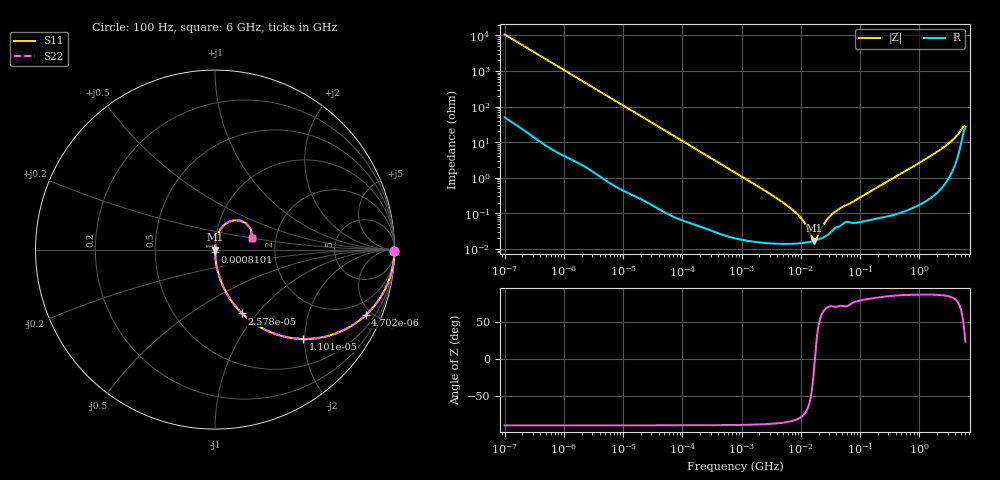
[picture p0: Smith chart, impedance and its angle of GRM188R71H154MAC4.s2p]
!Murata Part Number: GRM188R71H154MAC4
!These Parameters are Measured in Series Mode Connection
!Data Generated on Mar 30, 2021
!  o--ll--o
!Port1  Port2
!  o------o
!Operation Temp=25[degC], DC Bias Voltage=0[V]
!Freq. Start=100[Hz] Stop=6[GHz] 401[Steps]
# Hz S RI R 50
!Freq.(Hz) S11(Real) S11(Imag) S21(Real) S21(Imag) S12(Real) S12(Imag) S22(Real) S22(Imag)
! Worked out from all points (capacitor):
!   401 points, 100 Hz to 6 GHz, reference 50 ohm
!   read as one part in series: C = 149 nF near 109 Hz
!   lowest |Z| = 17.1 mohm at 17.01 MHz (marker M1)
!   series resonance near 17.28 MHz, so ESL is about 570 pH
!   S11 on the Smith chart (normalised r, x): 100 Hz: open; 4.702 kHz: 1.02, -4.58; 11.01 kHz: 1.01, -1.96; 25.78 kHz: 1.00, -0.84; 810.1 kHz: 1.00, -0.03; 6 GHz: 1.50, +0.21
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100  0.9999 -0.00938  0.000132 0.00938  0.000132 0.00938  0.9999 -0.00938
600  0.9967 -0.0558  0.00333 0.0558  0.00333 0.0558  0.9967 -0.0558
2008  0.9655 -0.1803  0.0345 0.1803  0.0345 0.1803  0.9655 -0.1803
4702  0.8389 -0.3656  0.1611 0.3656  0.1611 0.3656  0.8389 -0.3656
11009  0.4899 -0.4979  0.5101 0.4979  0.5101 0.4979  0.4899 -0.4979
25777  0.1509 -0.3555  0.8491 0.3555  0.8491 0.3555  0.1509 -0.3555
40335  0.0683 -0.2498  0.9317 0.2498  0.9317 0.2498  0.0683 -0.2498
135116  0.00694 -0.0798  0.9931 0.0798  0.9931 0.0798  0.00694 -0.0798
774597  0.000396 -0.0141  0.9996 0.0141  0.9996 0.0141  0.000396 -0.0141
810067  0.000376 -0.0135  0.9996 0.0135  0.9996 0.0135  0.000376 -0.0135
3549919  0.00015 -0.00296  0.9999 0.00296  0.9999 0.00296  0.00015 -0.00296
7266822  0.000141 -0.00124  0.9999 0.00124  0.9999 0.00124  0.000141 -0.00124
1.137099e7  0.000149 -0.000547  0.9999 0.000547  0.9999 0.000547  0.000149 -0.000547
1.555665e7  0.000163 -0.000133  0.9998 0.000133  0.9998 0.000133  0.000163 -0.000133
1.701401e7  0.00017 -1.97e-05  0.9998 1.97e-05  0.9998 1.97e-05  0.00017 -1.97e-05
1.86079e7  0.000177 9.39e-05  0.9998 -9.39e-05  0.9998 -9.39e-05  0.000177 9.39e-05
2.662322e7  0.000232 0.000564  0.9998 -0.000564  0.9998 -0.000564  0.000232 0.000564
3.64232e7  0.000363 0.000998  0.9996 -0.000998  0.9996 -0.000998  0.000363 0.000998
3.124326e8  0.000911 0.00831  0.9991 -0.00831  0.9991 -0.00831  0.000911 0.00831
3.352442e9  0.0213 0.0973  0.9787 -0.0973  0.9787 -0.0973  0.0213 0.0973
5.016141e9  0.1071 0.1635  0.8929 -0.1635  0.8929 -0.1635  0.1071 0.1635
6e9  0.2067 0.0672  0.7933 -0.0672  0.7933 -0.0672  0.2067 0.0672
